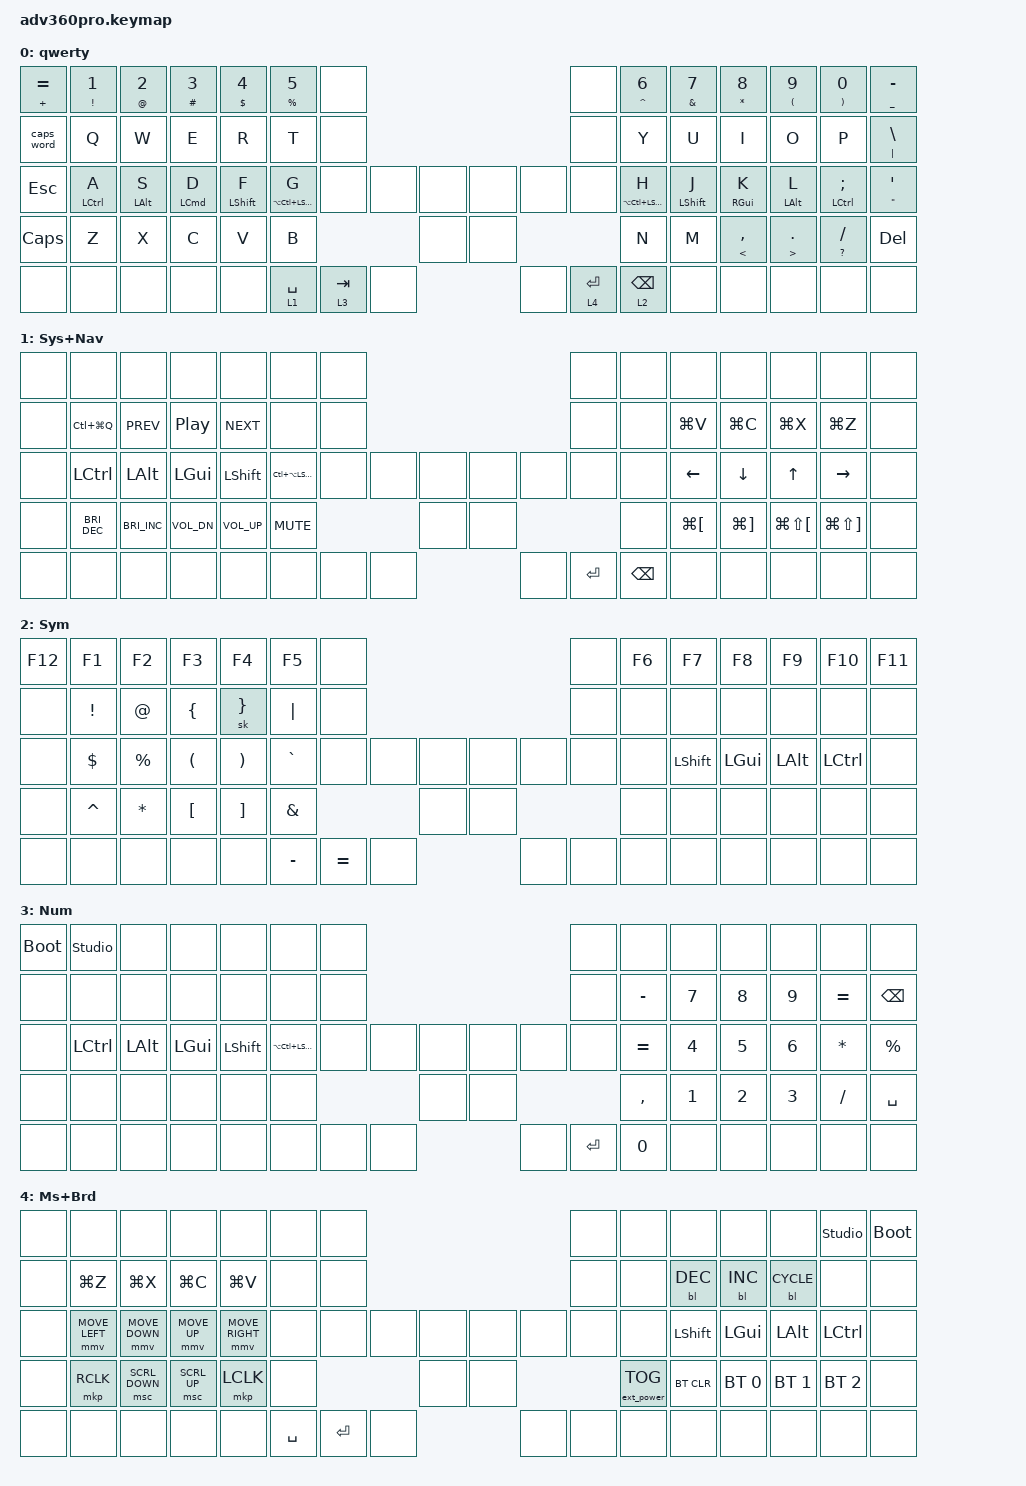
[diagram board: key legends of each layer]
#define ZMK_POINTING_DEFAULT_MOVE_VAL 1500  // default: 600
#define ZMK_POINTING_DEFAULT_SCRL_VAL 20    // default: 10

#include <behaviors.dtsi>
#include <dt-bindings/zmk/backlight.h>
#include <dt-bindings/zmk/bt.h>
#include <dt-bindings/zmk/ext_power.h>
#include <dt-bindings/zmk/keys.h>
#include <dt-bindings/zmk/pointing.h>

#define KEYS_L   0  1  2  3  4  5  6 \
                14 15 16 17 18 19 20 \
                28 29 30 31 32 33 34 \
                46 47 48 49 50 51    \
                60 61 62 63 64
#define THUMBS_L     35 36 \
                        52 \
                  65 66 67
#define KEYS_R   7  8  9 10 11 12 13 \
                21 22 23 24 25 26 27 \
                39 40 41 42 43 44 45 \
                   54 55 56 57 58 59 \
                      71 72 73 74 75
#define THUMBS_R     37 38    \
                     53       \
                     68 69 70 \

#define AS(keycode) &as LS(keycode) keycode     // Autoshift Macro

&lt {
    tapping-term-ms = <220>;
    quick-tap-ms = <0>;
    flavor = "balanced";
};

/ {
    behaviors {
        hml: left_positional_homerow_mods {
            compatible = "zmk,behavior-hold-tap";
            label = "HOMEROW_MODS_LEFT";
            #binding-cells = <2>;
            tapping-term-ms = <220>;
            quick-tap-ms = <0>;
            flavor = "balanced";
            bindings = <&kp>, <&kp>;

            hold-trigger-key-positions = <69 70 54 55 56 57 58 40 41 42 43 44 22 23 24 25 26 59 45 27 13 8 9 10 11 12>;
            hold-trigger-on-release;
        };

        hmr: right_positional_homerow_mods {
            compatible = "zmk,behavior-hold-tap";
            label = "HOMEROW_MODS_RIGHT";
            #binding-cells = <2>;
            tapping-term-ms = <220>;
            quick-tap-ms = <0>;
            flavor = "balanced";
            bindings = <&kp>, <&kp>;

            hold-trigger-key-positions = <47 48 49 50 51 29 30 31 32 33 15 16 17 18 19 14 15 16 28 46 0 1 2 3 4 5 65 66>;
            hold-trigger-on-release;
        };

        as: auto_shift {
            compatible = "zmk,behavior-hold-tap";
            #binding-cells = <2>;
            tapping_term_ms = <175>;
            quick_tap_ms = <0>;
            flavor = "tap-preferred";
            bindings = <&kp>, <&kp>;
        };
    };

    keymap {
        compatible = "zmk,keymap";

        qwerty {
            bindings = <
&as PLUS EQUAL  &as EXCL N1          &as AT N2        &as HASH N3          &as DLLR N4        &as PRCNT N5               &none                                                                        &none  &as CARET N6               &as AMPS N7        &as STAR N8          &as LPAR N9           &as RPAR N0             &as UNDER MINUS
&caps_word      &kp Q                &kp W            &kp E                &kp R              &kp T                      &none                                                                        &none  &kp Y                      &kp U              &kp I                &kp O                 &kp P                   &as PIPE BSLH
&kp ESC         &hml LEFT_CONTROL A  &hml LEFT_ALT S  &hml LEFT_COMMAND D  &hml LEFT_SHIFT F  &hml LA(LC(LEFT_SHIFT)) G  &none               &none      &none    &none  &none                         &none  &hmr LA(LC(LEFT_SHIFT)) H  &hmr LEFT_SHIFT J  &hmr RIGHT_GUI K     &hmr LEFT_ALT L       &hmr LEFT_CONTROL SEMI  &as DOUBLE_QUOTES APOS
&kp CAPSLOCK    &kp Z                &kp X            &kp C                &kp V              &kp B                                                     &none    &none                                       &kp N                      &kp M              &as LESS_THAN COMMA  &as GREATER_THAN DOT  &as QUESTION FSLH       &kp DEL
&none           &none                &none            &none                &none                                                &lt 1 SPACE  &lt 3 TAB  &none    &none  &lt 4 ENTER  &lt 2 BACKSPACE                                    &none              &none                &none                 &none                   &none
            >;
        };

        Sys+Nav {
            bindings = <
&none  &none                 &none                 &none             &none         &none                   &none                                                          &none  &none  &none         &none         &none             &none             &none
&none  &kp LC(LG(Q))         &kp C_PREV            &kp C_PLAY_PAUSE  &kp C_NEXT    &none                   &none                                                          &none  &none  &kp LG(V)     &kp LG(C)     &kp LG(X)         &kp LG(Z)         &none
&none  &kp LCTRL             &kp LALT              &kp LGUI          &kp LSHFT     &kp LC(LA(LEFT_SHIFT))  &none         &none  &none    &none  &none                     &none  &none  &kp LEFT      &kp DOWN      &kp UP            &kp RIGHT         &none
&none  &kp C_BRIGHTNESS_DEC  &kp C_BRIGHTNESS_INC  &kp C_VOL_DN      &kp C_VOL_UP  &kp C_MUTE                                   &none    &none                                   &none  &kp LG(LBKT)  &kp LG(RBKT)  &kp LG(LS(LBKT))  &kp LG(LS(RBKT))  &none
&none  &none                 &none                 &none             &none                                        &none  &none  &none    &none  &kp ENTER  &kp BACKSPACE                &none         &none         &none             &none             &none
            >;
        };

        Sym {
            bindings = <
&kp F12  &kp F1     &kp F2     &kp F3    &kp F4    &kp F5     &none                                                      &none  &kp F6  &kp F7     &kp F8    &kp F9    &kp F10    &kp F11
&none    &kp EXCL   &kp AT     &kp LBRC  &sk RBRC  &kp PIPE   &none                                                      &none  &none   &none      &none     &none     &none      &none
&none    &kp DLLR   &kp PRCNT  &kp LPAR  &kp RPAR  &kp GRAVE  &none             &none      &none    &none  &none         &none  &none   &kp LSHFT  &kp LGUI  &kp LALT  &kp LCTRL  &none
&none    &kp CARET  &kp STAR   &kp LBKT  &kp RBKT  &kp AMPS                                &none    &none                       &none   &none      &none     &none     &none      &none
&none    &none      &none      &none     &none                       &kp MINUS  &kp EQUAL  &none    &none  &none  &none                 &none      &none     &none     &none      &none
            >;
        };

        Num {
            bindings = <
&bootloader  &studio_unlock  &none     &none     &none      &none                   &none                                                   &none  &none      &none   &none   &none   &none      &none
&none        &none           &none     &none     &none      &none                   &none                                                   &none  &kp MINUS  &kp N7  &kp N8  &kp N9  &kp EQUAL  &kp BACKSPACE
&none        &kp LCTRL       &kp LALT  &kp LGUI  &kp LSHFT  &kp LA(LC(LEFT_SHIFT))  &none         &none  &none    &none  &none              &none  &kp EQUAL  &kp N4  &kp N5  &kp N6  &kp STAR   &kp PRCNT
&none        &none           &none     &none     &none      &none                                        &none    &none                            &kp COMMA  &kp N1  &kp N2  &kp N3  &kp FSLH   &kp SPACE
&none        &none           &none     &none     &none                                     &none  &none  &none    &none  &kp ENTER  &kp N0                    &none   &none   &none   &none      &none
            >;
        };

        Ms+Brd {
            bindings = <
&none  &none           &none           &none         &none            &none  &none                                                      &none  &none              &none       &none         &none         &studio_unlock  &bootloader
&none  &kp LG(Z)       &kp LG(X)       &kp LG(C)     &kp LG(V)        &none  &none                                                      &none  &none              &bl BL_DEC  &bl BL_INC    &bl BL_CYCLE  &none           &none
&none  &mmv MOVE_LEFT  &mmv MOVE_DOWN  &mmv MOVE_UP  &mmv MOVE_RIGHT  &none  &none             &none      &none    &none  &none         &none  &none              &kp LSHFT   &kp LGUI      &kp LALT      &kp LCTRL       &none
&none  &mkp RCLK       &msc SCRL_DOWN  &msc SCRL_UP  &mkp LCLK        &none                               &none    &none                       &ext_power EP_TOG  &bt BT_CLR  &bt BT_SEL 0  &bt BT_SEL 1  &bt BT_SEL 2    &none
&none  &none           &none           &none         &none                          &kp SPACE  &kp ENTER  &none    &none  &none  &none                            &none       &none         &none         &none           &none
            >;
        };
    };
};
